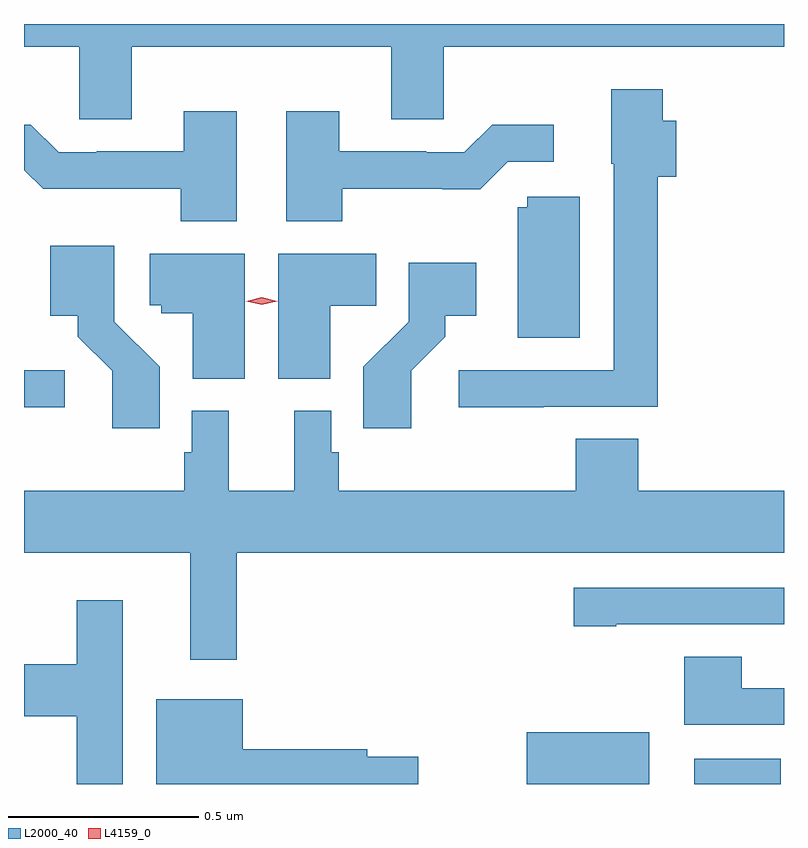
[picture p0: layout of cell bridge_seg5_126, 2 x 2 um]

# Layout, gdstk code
import gdstk
lib = gdstk.Library(unit=1e-6, precision=1e-09)
def R(c, l, rs):  # rectangles x0, y0, x1, y1
    for r in rs: c.add(gdstk.rectangle(r[:2], r[2:], *l))
def P(c, l, *ps):  # polygons
    for p in ps: c.add(gdstk.Polygon(p, *l))
L2000_40 = (2000, 40)
L4159_0 = (4159, 0)

bridge_seg5_126 = lib.new_cell('bridge_seg5_126')
R(bridge_seg5_126, L2000_40, [(435.74,848.16,436.063,848.296), (436.181,848.16,436.408,848.227), (434.417,849.151,434.524,849.249)])
P(bridge_seg5_126, L2000_40, [(434.701,850.1),(435.383,850.1),(435.383,849.91),(435.522,849.91),(435.522,850.1),(436.417,850.1),(436.417,850.16),(434.417,850.16),(434.417,850.1),(434.562,850.1),(434.562,849.91),(434.701,849.91)],
  [(435.785,849.153),(436.085,849.153),(436.085,849.758),(436.133,849.758),(436.133,849.906),(436.098,849.906),(436.098,849.988),(435.962,849.988),(435.962,849.792),(435.969,849.792),(435.969,849.249),(435.561,849.249),(435.561,849.151),(435.785,849.151)],
  [(435.255,849.726),(435.518,849.726),(435.518,849.725),(435.617,849.725),(435.69,849.798),(435.811,849.798),(435.811,849.895),(435.649,849.895),(435.576,849.822),(435.476,849.822),(435.476,849.825),(435.247,849.825),(435.247,849.931),(435.107,849.931),(435.107,849.641),(435.255,849.641)],
  [(434.977,849.931),(434.837,849.931),(434.837,849.825),(434.608,849.825),(434.608,849.822),(434.508,849.822),(434.435,849.895),(434.417,849.895),(434.417,849.775),(434.467,849.726),(434.83,849.726),(434.83,849.641),(434.977,849.641)],
  [(435.88,849.705),(435.741,849.705),(435.741,849.678),(435.716,849.678),(435.716,849.334),(435.88,849.334)],
  [(434.774,849.258),(434.655,849.377),(434.655,849.577),(434.486,849.577),(434.486,849.392),(434.558,849.392),(434.558,849.337),(434.649,849.247),(434.649,849.096),(434.774,849.096)],
  [(434.998,849.556),(434.748,849.556),(434.748,849.42),(434.778,849.42),(434.778,849.399),(434.861,849.399),(434.861,849.227),(434.998,849.227)],
  [(435.223,849.418),(435.344,849.418),(435.344,849.556),(435.086,849.556),(435.086,849.227),(435.223,849.227)],
  [(435.436,849.247),(435.526,849.337),(435.526,849.392),(435.607,849.392),(435.607,849.532),(435.429,849.532),(435.429,849.377),(435.31,849.258),(435.31,849.096),(435.436,849.096)],
  [(434.977,848.768),(436.417,848.768),(436.417,848.932),(436.034,848.932),(436.034,849.068),(435.869,849.068),(435.869,848.932),(435.245,848.932),(435.245,849.033),(435.225,849.033),(435.225,849.142),(435.128,849.142),(435.128,848.932),(434.956,848.932),(434.956,849.142),(434.859,849.142),(434.859,849.033),(434.839,849.033),(434.839,848.932),(434.417,848.932),(434.417,848.768),(434.855,848.768),(434.855,848.487),(434.977,848.487)],
  [(435.976,848.58),(436.417,848.58),(436.417,848.676),(435.864,848.676),(435.864,848.575),(435.976,848.575)],
  [(434.677,848.644),(434.556,848.644),(434.556,848.475),(434.417,848.475),(434.417,848.338),(434.556,848.338),(434.556,848.16),(434.677,848.16)],
  [(436.417,848.412),(436.306,848.412),(436.306,848.495),(436.154,848.495),(436.154,848.316),(436.417,848.316)],
  [(435.454,848.232),(435.32,848.232),(435.32,848.252),(434.992,848.252),(434.992,848.383),(434.765,848.383),(434.765,848.16),(435.454,848.16)])
P(bridge_seg5_126, L4159_0, [(435.042,849.421),(435.002,849.431),(435.001,849.431),(435.002,849.431),(435.042,849.441),(435.083,849.431),(435.083,849.431),(435.083,849.431)])

lib.write_gds('bridge_seg5_126.gds')
